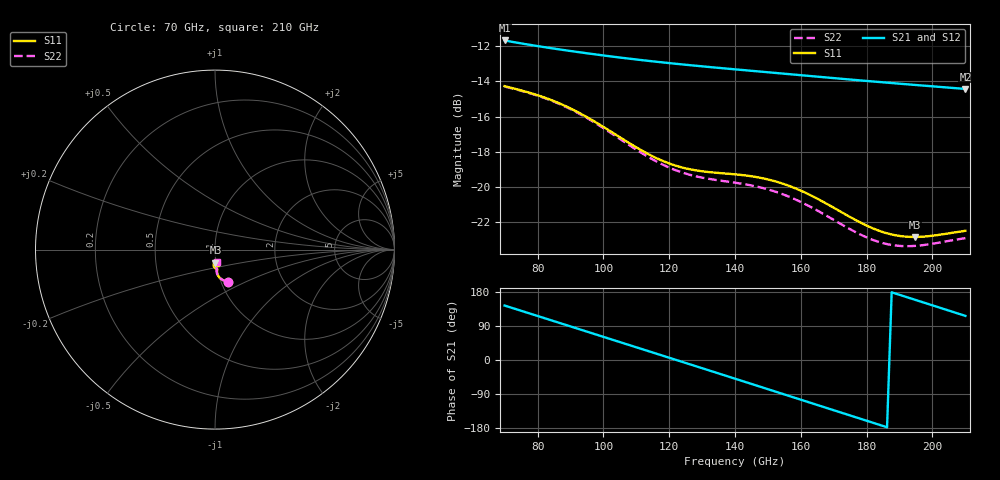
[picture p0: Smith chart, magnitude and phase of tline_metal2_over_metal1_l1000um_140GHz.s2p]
#  GHZ S DB R 50
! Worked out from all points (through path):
!   101 points, 70 GHz to 210 GHz, reference 50 ohm
!   highest |S21| = -11.67 dB at 70 GHz (marker M1); lowest = -14.4 dB at 210 GHz (marker M2)
!   group delay of S21, straight-line fit = 7.69 ps
!   lowest |S11| = -22.8 dB at 194.6 GHz (marker M3), VSWR 1.16, Z = 49.8 - j7.21 ohm
!   |S11| at or under -10 dB: start of sweep to end of sweep
!   |S22| runs from -23.4 to -14.3 dB; largest |S21 - S12| = 2.7e-13
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70  -14.27 -68.4  -11.67 143.7  -11.67 143.7  -14.29 -68.3
77  -14.61 -71.3  -11.90 124.5  -11.90 124.5  -14.64 -71.2
82.6  -14.95 -74.2  -12.07 109.1  -12.07 109.1  -14.98 -74.2
88.2  -15.38 -77.3  -12.22 93.7  -12.22 93.7  -15.41 -77.4
93.8  -15.90 -80.3  -12.37 78.2  -12.37 78.2  -15.95 -80.5
99.4  -16.51 -82.7  -12.51 62.8  -12.51 62.8  -16.58 -83.1
106.4  -17.33 -84.6  -12.67 43.5  -12.67 43.5  -17.44 -85.2
112  -17.96 -85.0  -12.80 28.1  -12.80 28.1  -18.11 -85.8
117.6  -18.48 -84.6  -12.91 12.6  -12.91 12.6  -18.69 -85.5
123.2  -18.85 -83.9  -13.02 -2.8  -13.02 -2.8  -19.13 -84.9
128.8  -19.07 -83.5  -13.12 -18.3  -13.12 -18.3  -19.42 -84.3
140  -19.28 -84.6  -13.31 -49.3  -13.31 -49.3  -19.75 -85.0
147  -19.45 -86.9  -13.43 -68.7  -13.43 -68.7  -19.99 -86.8
152.6  -19.70 -89.1  -13.52 -84.2  -13.52 -84.2  -20.28 -88.7
158.2  -20.06 -91.4  -13.62 -99.8  -13.62 -99.8  -20.69 -90.6
163.8  -20.55 -93.3  -13.71 -115.3  -13.71 -115.3  -21.21 -92.0
176.4  -21.85 -94.3  -13.92 -150.3  -13.92 -150.3  -22.54 -91.6
182  -22.36 -92.8  -14.01 -165.8  -14.01 -165.8  -23.01 -89.6
187.6  -22.70 -90.7  -14.09 178.6  -14.09 178.6  -23.29 -87.0
194.6  -22.84 -87.8  -14.20 159.2  -14.20 159.2  -23.35 -84.0
203  -22.69 -85.9  -14.32 135.9  -14.32 135.9  -23.13 -82.1
210  -22.49 -86.0  -14.43 116.4  -14.43 116.4  -22.91 -82.4
